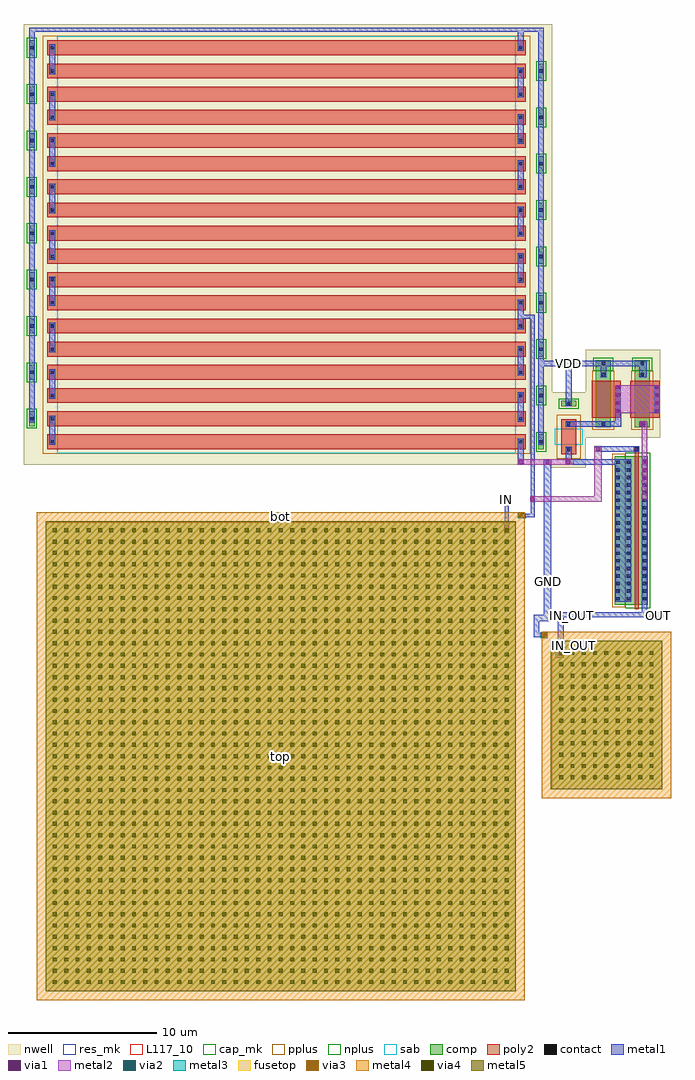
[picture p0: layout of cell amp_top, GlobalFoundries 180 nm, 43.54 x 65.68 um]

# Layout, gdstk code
from math import pi, radians
import gdstk
lib = gdstk.Library(unit=1e-6, precision=5e-09)
def R(c, l, rs):  # rectangles x0, y0, x1, y1
    for r in rs: c.add(gdstk.rectangle(r[:2], r[2:], *l))
def A(c, l, x, y, w, h, nx, ny, dx, dy):  # array of equal rectangles
    R(c, l, [(x+i*dx, y+j*dy, x+i*dx+w, y+j*dy+h) for i in range(nx) for j in range(ny)])
def P(c, l, *ps):  # polygons
    for p in ps: c.add(gdstk.Polygon(p, *l))
nwell = (21, 0)
comp = (22, 0)
poly2 = (30, 0)
pplus = (31, 0)
nplus = (32, 0)
contact = (33, 0)
metal1 = (34, 0)
via1 = (35, 0)
metal2 = (36, 0)
via2 = (38, 0)
via3 = (40, 0)
via4 = (41, 0)
metal3 = (42, 0)
metal4 = (46, 0)
sab = (49, 0)
fusetop = (75, 0)
metal5 = (81, 0)
res_mk = (110, 5)
cap_mk = (117, 5)
L117_10 = (117, 10)

cap_output = lib.new_cell('cap_output')
R(cap_output, metal1, [(8.065,9.895,8.48,12.775), (8.065,9.895,8.48,12.775), (9.16,11.115,10.105,11.425), (9.16,11.115,10.105,11.425)])
R(cap_output, via1, [(8.12,9.94,8.38,10.2), (9.22,11.135,9.48,11.395), (9.22,11.135,9.48,11.395)])
R(cap_output, metal2, [(8.065,9.755,8.6,10.36), (9.16,11.08,9.625,11.455), (9.16,11.08,9.625,11.455)])
R(cap_output, via2, [(9.22,11.135,9.48,11.395), (9.22,11.135,9.48,11.395)])
R(cap_output, via3, [(9.22,11.135,9.48,11.395), (9.22,11.135,9.48,11.395)])
R(cap_output, via4, [(2.04,1.58,2.3,1.84), (2.04,1.58,2.3,1.84), (2.8,1.58,3.06,1.84), (2.8,1.58,3.06,1.84), (3.56,1.58,3.82,1.84), (3.56,1.58,3.82,1.84), (4.32,1.58,4.58,1.84), (4.32,1.58,4.58,1.84), (5.08,1.58,5.34,1.84), (5.08,1.58,5.34,1.84), (5.84,1.58,6.1,1.84), (5.84,1.58,6.1,1.84), (6.6,1.58,6.86,1.84), (6.6,1.58,6.86,1.84), (7.36,1.58,7.62,1.84), (7.36,1.58,7.62,1.84), (8.12,1.58,8.38,1.84), (8.12,1.58,8.38,1.84), (2.04,2.34,2.3,2.6), (2.04,2.34,2.3,2.6), (2.8,2.34,3.06,2.6), (2.8,2.34,3.06,2.6), (3.56,2.34,3.82,2.6), (3.56,2.34,3.82,2.6), (4.32,2.34,4.58,2.6), (4.32,2.34,4.58,2.6), (5.08,2.34,5.34,2.6), (5.08,2.34,5.34,2.6), (5.84,2.34,6.1,2.6), (5.84,2.34,6.1,2.6), (6.6,2.34,6.86,2.6), (6.6,2.34,6.86,2.6), (7.36,2.34,7.62,2.6), (7.36,2.34,7.62,2.6), (8.12,2.34,8.38,2.6), (8.12,2.34,8.38,2.6), (2.04,3.1,2.3,3.36), (2.04,3.1,2.3,3.36), (2.8,3.1,3.06,3.36), (2.8,3.1,3.06,3.36), (3.56,3.1,3.82,3.36), (3.56,3.1,3.82,3.36), (4.32,3.1,4.58,3.36), (4.32,3.1,4.58,3.36), (5.08,3.1,5.34,3.36), (5.08,3.1,5.34,3.36), (5.84,3.1,6.1,3.36), (5.84,3.1,6.1,3.36), (6.6,3.1,6.86,3.36), (6.6,3.1,6.86,3.36), (7.36,3.1,7.62,3.36), (7.36,3.1,7.62,3.36), (8.12,3.1,8.38,3.36), (8.12,3.1,8.38,3.36), (2.04,3.86,2.3,4.12), (2.04,3.86,2.3,4.12), (2.8,3.86,3.06,4.12), (2.8,3.86,3.06,4.12), (3.56,3.86,3.82,4.12), (3.56,3.86,3.82,4.12), (4.32,3.86,4.58,4.12), (4.32,3.86,4.58,4.12), (5.08,3.86,5.34,4.12), (5.08,3.86,5.34,4.12), (5.84,3.86,6.1,4.12), (5.84,3.86,6.1,4.12), (6.6,3.86,6.86,4.12), (6.6,3.86,6.86,4.12), (7.36,3.86,7.62,4.12), (7.36,3.86,7.62,4.12), (8.12,3.86,8.38,4.12), (8.12,3.86,8.38,4.12), (2.04,4.62,2.3,4.88), (2.04,4.62,2.3,4.88), (2.8,4.62,3.06,4.88), (2.8,4.62,3.06,4.88), (3.56,4.62,3.82,4.88), (3.56,4.62,3.82,4.88), (4.32,4.62,4.58,4.88), (4.32,4.62,4.58,4.88), (5.08,4.62,5.34,4.88), (5.08,4.62,5.34,4.88), (5.84,4.62,6.1,4.88), (5.84,4.62,6.1,4.88), (6.6,4.62,6.86,4.88), (6.6,4.62,6.86,4.88), (7.36,4.62,7.62,4.88), (7.36,4.62,7.62,4.88), (8.12,4.62,8.38,4.88), (8.12,4.62,8.38,4.88), (2.04,5.38,2.3,5.64), (2.04,5.38,2.3,5.64), (2.8,5.38,3.06,5.64), (2.8,5.38,3.06,5.64), (3.56,5.38,3.82,5.64), (3.56,5.38,3.82,5.64), (4.32,5.38,4.58,5.64), (4.32,5.38,4.58,5.64), (5.08,5.38,5.34,5.64), (5.08,5.38,5.34,5.64), (5.84,5.38,6.1,5.64), (5.84,5.38,6.1,5.64), (6.6,5.38,6.86,5.64), (6.6,5.38,6.86,5.64), (7.36,5.38,7.62,5.64), (7.36,5.38,7.62,5.64), (8.12,5.38,8.38,5.64), (8.12,5.38,8.38,5.64), (2.04,6.14,2.3,6.4), (2.04,6.14,2.3,6.4), (2.8,6.14,3.06,6.4), (2.8,6.14,3.06,6.4), (3.56,6.14,3.82,6.4), (3.56,6.14,3.82,6.4), (4.32,6.14,4.58,6.4), (4.32,6.14,4.58,6.4), (5.08,6.14,5.34,6.4), (5.08,6.14,5.34,6.4), (5.84,6.14,6.1,6.4), (5.84,6.14,6.1,6.4), (6.6,6.14,6.86,6.4), (6.6,6.14,6.86,6.4), (7.36,6.14,7.62,6.4), (7.36,6.14,7.62,6.4), (8.12,6.14,8.38,6.4), (8.12,6.14,8.38,6.4), (2.04,6.9,2.3,7.16), (2.04,6.9,2.3,7.16), (2.8,6.9,3.06,7.16), (2.8,6.9,3.06,7.16), (3.56,6.9,3.82,7.16), (3.56,6.9,3.82,7.16), (4.32,6.9,4.58,7.16), (4.32,6.9,4.58,7.16), (5.08,6.9,5.34,7.16), (5.08,6.9,5.34,7.16), (5.84,6.9,6.1,7.16), (5.84,6.9,6.1,7.16), (6.6,6.9,6.86,7.16), (6.6,6.9,6.86,7.16), (7.36,6.9,7.62,7.16), (7.36,6.9,7.62,7.16), (8.12,6.9,8.38,7.16), (8.12,6.9,8.38,7.16), (2.04,7.66,2.3,7.92), (2.04,7.66,2.3,7.92), (2.8,7.66,3.06,7.92), (2.8,7.66,3.06,7.92), (3.56,7.66,3.82,7.92), (3.56,7.66,3.82,7.92), (4.32,7.66,4.58,7.92), (4.32,7.66,4.58,7.92), (5.08,7.66,5.34,7.92), (5.08,7.66,5.34,7.92), (5.84,7.66,6.1,7.92), (5.84,7.66,6.1,7.92), (6.6,7.66,6.86,7.92), (6.6,7.66,6.86,7.92), (7.36,7.66,7.62,7.92), (7.36,7.66,7.62,7.92), (8.12,7.66,8.38,7.92), (8.12,7.66,8.38,7.92), (2.04,8.42,2.3,8.68), (2.04,8.42,2.3,8.68), (2.8,8.42,3.06,8.68), (2.8,8.42,3.06,8.68), (3.56,8.42,3.82,8.68), (3.56,8.42,3.82,8.68), (4.32,8.42,4.58,8.68), (4.32,8.42,4.58,8.68), (5.08,8.42,5.34,8.68), (5.08,8.42,5.34,8.68), (5.84,8.42,6.1,8.68), (5.84,8.42,6.1,8.68), (6.6,8.42,6.86,8.68), (6.6,8.42,6.86,8.68), (7.36,8.42,7.62,8.68), (7.36,8.42,7.62,8.68), (8.12,8.42,8.38,8.68), (8.12,8.42,8.38,8.68), (2.04,9.18,2.3,9.44), (2.04,9.18,2.3,9.44), (2.8,9.18,3.06,9.44), (2.8,9.18,3.06,9.44), (3.56,9.18,3.82,9.44), (3.56,9.18,3.82,9.44), (4.32,9.18,4.58,9.44), (4.32,9.18,4.58,9.44), (5.08,9.18,5.34,9.44), (5.08,9.18,5.34,9.44), (5.84,9.18,6.1,9.44), (5.84,9.18,6.1,9.44), (6.6,9.18,6.86,9.44), (6.6,9.18,6.86,9.44), (7.36,9.18,7.62,9.44), (7.36,9.18,7.62,9.44), (8.12,9.18,8.38,9.44), (8.12,9.18,8.38,9.44), (2.04,9.94,2.3,10.2), (2.04,9.94,2.3,10.2), (2.8,9.94,3.06,10.2), (2.8,9.94,3.06,10.2), (3.56,9.94,3.82,10.2), (3.56,9.94,3.82,10.2), (4.32,9.94,4.58,10.2), (4.32,9.94,4.58,10.2), (5.08,9.94,5.34,10.2), (5.08,9.94,5.34,10.2), (5.84,9.94,6.1,10.2), (5.84,9.94,6.1,10.2), (6.6,9.94,6.86,10.2), (6.6,9.94,6.86,10.2), (7.36,9.94,7.62,10.2), (7.36,9.94,7.62,10.2), (8.12,9.94,8.38,10.2), (8.12,9.94,8.38,10.2)])
R(cap_output, metal3, [(9.16,11.08,9.625,11.455), (9.16,11.08,9.625,11.455)])
R(cap_output, metal4, [(0.86,0.29,9.56,11.49), (0.86,0.29,9.56,11.49)])
R(cap_output, fusetop, [(1.46,0.89,8.96,10.89), (1.46,0.89,8.96,10.89)])
R(cap_output, metal5, [(1.46,0.89,8.96,10.89), (1.46,0.89,8.96,10.89)])
R(cap_output, cap_mk, [(0.86,0.29,9.56,11.49), (0.86,0.29,9.56,11.49)])
R(cap_output, L117_10, [(8.86,0.89,8.96,10.89), (8.86,0.89,8.96,10.89)])
cap_output.add(gdstk.Label('IN_OUT', (8.26,12.705), layer=34, texttype=10))
cap_output.add(gdstk.Label('GND', (10.055,11.25), layer=34, texttype=10))
cap_output.add(gdstk.Label('GND', (10.055,11.25), layer=34, texttype=10))

amp_top = lib.new_cell('amp_top')
R(amp_top, nwell, [(39.69,38.19,39.93,44.1), (39.93,38.19,42.31,44.1)])
P(amp_top, nwell, [(34.92,36.155),(34.92,36.365),(-0.49,36.365),(-0.49,66.03),(35.075,66.03),(35.075,41.25),(37.31,41.25),(37.31,44.1),(39.69,44.1),(39.69,38.19),(37.31,38.19),(37.31,36.155)])
A(amp_top, comp, 34.13, 37.41, 0.36, 1, 1, 9, 0, 3.12)
A(amp_top, comp, -0.14, 38.97, 0.36, 1, 1, 9, 0, 3.12)
R(amp_top, comp, [(39.275,26.945,39.985,36.945), (39.985,26.945,40.405,36.945), (40.405,26.945,41.065,36.945), (41.065,26.945,41.485,36.945), (38,38.88,39,39.34), (40.62,38.88,41.62,39.34), (38,39.34,39,42.22), (40.62,39.34,41.62,42.22), (35.67,40.3,36.67,40.66), (38,42.22,39,42.68), (40.62,42.22,41.62,42.68), (38,42.68,39,43.41), (40.62,42.68,41.62,43.41)])
A(amp_top, poly2, 1.08, 37.41, 32.19, 1, 1, 18, 0, 1.56)
R(amp_top, poly2, [(40.595,26.645,40.875,37.245), (35.67,37.07,36.67,39.44), (40.555,37.245,40.915,37.605), (37.7,39.53,39.3,42.03), (39.3,39.53,39.68,42.03), (40.32,39.53,41.92,42.03), (41.92,39.53,42.3,42.03)])
A(amp_top, pplus, 0.78, 37.11, 32.79, 1.6, 1, 18, 0, 1.56)
R(amp_top, pplus, [(39.105,26.775,39.985,37.115), (35.37,36.77,36.97,39.74), (37.76,38.71,39.24,42.68), (40.38,38.71,41.86,42.68)])
A(amp_top, nplus, 33.97, 37.25, 0.68, 1.32, 1, 9, 0, 3.12)
A(amp_top, nplus, -0.3, 38.81, 0.68, 1.32, 1, 9, 0, 3.12)
R(amp_top, nplus, [(39.985,26.705,41.655,37.185), (35.51,40.14,36.83,40.82), (37.83,42.68,39.17,43.58), (40.45,42.68,41.79,43.58)])
A(amp_top, contact, 39.375, 27.245, 0.22, 0.22, 1, 19, 0, 0.51)
A(amp_top, contact, 40.085, 27.245, 0.22, 0.22, 1, 19, 0, 0.51)
A(amp_top, contact, 41.165, 27.245, 0.22, 0.22, 1, 19, 0, 0.51)
A(amp_top, contact, 1.3, 37.8, 0.22, 0.22, 1, 18, 0, 1.56)
A(amp_top, contact, 32.83, 37.8, 0.22, 0.22, 1, 18, 0, 1.56)
A(amp_top, contact, 34.2, 37.8, 0.22, 0.22, 1, 9, 0, 3.12)
A(amp_top, contact, -0.07, 39.36, 0.22, 0.22, 1, 9, 0, 3.12)
A(amp_top, contact, 39.38, 39.905, 0.22, 0.22, 1, 4, 0, 0.51)
A(amp_top, contact, 42, 39.905, 0.22, 0.22, 1, 4, 0, 0.51)
R(amp_top, contact, [(36.06,37.29,36.28,37.51), (40.625,37.315,40.845,37.535), (36.06,39,36.28,39.22), (38.39,39,38.61,39.22), (41.01,39,41.23,39.22), (36.06,40.37,36.28,40.59), (38.39,42.34,38.61,42.56), (41.01,42.34,41.23,42.56), (38.39,43.07,38.61,43.29), (41.01,43.07,41.23,43.29)])
A(amp_top, metal1, 1.22, 37.72, 0.38, 0.38, 1, 18, 0, 1.56)
A(amp_top, metal1, 32.75, 37.72, 0.38, 0.38, 1, 18, 0, 1.56)
A(amp_top, metal1, 34.12, 37.72, 0.38, 0.38, 1, 9, 0, 3.12)
A(amp_top, metal1, -0.15, 39.28, 0.38, 0.38, 1, 9, 0, 3.12)
A(amp_top, metal1, 1.22, 41.22, 0.38, 1.18, 1, 7, 0, 3.12)
A(amp_top, metal1, 32.75, 52.14, 0.38, 1.18, 1, 3, 0, 3.12)
R(amp_top, metal1, [(39.295,27.165,39.675,36.725), (40.005,27.165,40.385,36.725), (31.86,31.77,32.12,31.83), (31.86,31.83,32.12,32.09), (32.75,32.82,32.81,33.08), (32.81,32.82,32.84,33.08), (32.75,36.365,33.13,37.72), (34.12,37.705,34.5,37.72), (1.22,37.71,1.6,37.72), (1.22,38.05,1.6,39.305), (34.12,38.075,34.24,53.32), (32.75,38.1,33.13,38.12), (35.98,38.92,38.31,39.3), (38.31,38.92,38.69,39.3), (40.93,38.92,41.31,39.3), (38.69,38.925,39.69,39.3), (-0.15,39.245,0.23,39.28), (32.75,39.255,33.13,39.28), (-0.15,39.28,0.23,63.395), (39.3,39.3,39.69,39.825), (32.75,39.565,33.13,40.865), (1.22,39.66,1.6,39.67), (39.3,39.825,39.68,41.735), (41.92,39.825,42.3,41.735), (1.22,40.825,1.6,40.84), (32.75,41.22,33.13,41.235), (38.31,42.26,38.69,42.64), (40.93,42.26,41.31,42.64), (41.31,42.26,41.405,43.37), (32.75,42.385,33.13,42.4), (38.31,42.635,38.69,42.99), (40.93,42.64,41.31,42.99), (32.75,42.725,33.13,43.96), (1.22,42.78,1.6,42.795), (38.31,42.99,38.69,43.37), (38.69,42.99,40.93,43.37), (40.93,42.99,41.31,43.37), (1.22,43.945,1.6,43.96), (32.75,44.34,33.13,44.355), (32.75,45.5,33.13,45.52), (32.75,45.82,33.13,47.12), (1.22,45.9,1.6,45.915), (1.22,47.065,1.6,47.08), (32.75,47.46,33.13,47.48), (32.75,48.62,33.13,48.64), (32.75,48.915,33.13,50.2), (1.22,49.02,1.6,49.03), (1.22,50.18,1.6,50.2), (32.75,50.58,33.13,50.595), (32.75,51.74,33.13,51.76), (1.22,52.14,1.6,52.16), (1.22,53.305,1.6,53.32), (32.75,53.7,33.13,53.72), (34.12,53.7,34.24,56.44), (32.75,54.865,33.13,54.88), (1.22,55.26,1.6,55.275), (1.22,56.425,1.6,56.44), (32.75,56.82,33.13,56.845), (34.12,56.82,34.24,59.56), (32.75,57.98,33.13,58), (33.02,58.18,33.07,58.44), (1.22,58.38,1.6,58.4), (1.22,59.545,1.6,59.56), (32.75,59.94,33.13,59.965), (34.12,59.94,34.5,62.63), (32.75,61.11,33.13,61.12), (32.75,61.12,33.13,63.06), (1.22,61.5,1.6,61.515), (34.12,62.63,34.5,65.785), (1.22,62.645,1.6,62.68), (1.22,62.68,1.6,64.655), (32.75,63.06,33.13,63.075), (-0.15,63.395,0.23,65.785), (32.75,64.22,33.13,64.24), (32.75,64.24,33.13,65.655)])
P(amp_top, metal1, [(35.43,26.115),(35.43,26.445),(41.085,26.445),(41.085,36.725),(41.465,36.725),(41.465,26.445),(42.905,26.445),(42.905,26.115)],
  [(33.805,25.055),(33.805,26.28),(34.49,26.28),(34.49,36.725),(34.975,36.725),(34.975,25.835),(34.175,25.835),(34.175,25.055)],
  [(31.86,32.09),(31.86,34.26),(32.12,34.26),(32.12,33.875),(32.12,32.09)],
  [(32.84,32.82),(32.84,33.08),(33.62,33.08),(33.62,33.875),(33.575,33.875),(33.575,34.26),(33.62,34.26),(33.62,34.35),(33.88,34.35),(33.88,32.82)],
  [(34.24,37.725),(34.24,59.945),(34.5,59.945),(34.5,43.37),(38.31,43.37),(38.31,42.99),(36.36,42.99),(36.36,40.29),(35.98,40.29),(35.98,42.99),(34.5,42.99),(34.5,37.725)],
  [(37.895,37.235),(37.895,37.615),(40.925,37.615),(40.925,37.235),(40.545,37.235)],
  [(39.675,27.165),(39.675,36.365),(35.98,36.365),(35.98,37.59),(36.36,37.59),(36.36,36.725),(40.005,36.725),(40.005,27.165)],
  [(34.12,59.56),(34.12,59.56),(34.24,59.56),(34.24,59.56)],
  [(34.12,59.56),(34.12,59.56),(34.24,59.56),(34.24,59.56)],
  [(32.75,51.76),(32.75,51.76),(33.13,51.76),(33.13,51.76)],
  [(32.75,64.24),(32.75,64.24),(33.13,64.24),(33.13,64.24)],
  [(7.845,63.03),(7.845,63.03),(7.845,63.03),(7.845,63.03)])
A(amp_top, via1, 39.36, 40.395, 0.26, 0.26, 1, 3, 0, 0.52)
A(amp_top, via1, 41.98, 40.395, 0.26, 0.26, 1, 3, 0, 0.52)
R(amp_top, via1, [(31.86,31.83,32.12,32.09), (32.81,32.82,33.07,33.08), (33.595,33.925,33.855,34.185), (41.165,35.365,41.425,35.625), (41.165,35.87,41.42,36.135), (41.145,36.405,41.405,36.665), (32.81,36.415,33.07,36.675), (34.61,36.425,34.87,36.685), (36.005,36.425,36.265,36.685), (38.015,37.3,38.275,37.56), (40.99,38.98,41.25,39.24), (41.01,39,41.23,39.22), (39.36,39.865,39.62,40.125), (41.98,39.865,42.24,40.125), (41.98,41.435,42.24,41.695)])
P(amp_top, via1, [(32.895,33.06),(32.895,33.06),(32.895,33.06),(32.895,33.06)])
R(amp_top, metal2, [(31.82,31.77,32.16,32.305), (32.75,32.78,33.285,32.82), (32.75,32.82,33.285,33.08), (32.75,33.08,33.285,33.12), (41.085,34.06,41.465,39.3), (32.75,36.365,36.52,36.725), (40.93,38.92,41.385,39.3), (39.3,39.825,42.3,41.735)])
P(amp_top, metal2, [(33.575,33.875),(33.575,34.26),(37.895,34.26),(37.895,37.585),(38.405,37.585),(38.405,33.875)])
R(amp_top, via2, [(32.81,32.82,33.07,33.08)])
R(amp_top, via3, [(32.81,32.82,33.07,33.08)])
A(amp_top, via4, 1.46, 1.43, 0.26, 0.26, 41, 41, 0.76, 0.76)
R(amp_top, metal3, [(32.75,32.78,33.285,33.12)])
R(amp_top, metal4, [(0.38,0.35,33.2,33.17)])
A(amp_top, sab, 1.74, 37.13, 30.87, 1.56, 1, 18, 0, 1.56)
R(amp_top, sab, [(35.215,37.73,37.125,38.78)])
R(amp_top, fusetop, [(0.98,0.95,32.6,32.57)])
R(amp_top, metal5, [(0.98,0.95,32.6,32.57)])
A(amp_top, res_mk, 1.74, 37.41, 30.87, 1, 1, 18, 0, 1.56)
R(amp_top, res_mk, [(35.67,37.73,36.67,38.78)])
R(amp_top, cap_mk, [(0.38,0.35,33.2,33.17)])
R(amp_top, L117_10, [(0.98,32.47,32.6,32.57)])
amp_top.add(gdstk.FlexPath([(32.94,37.72),(32.94,36.365)], 0.26, ends="flush", simple_path=True, layer=34, datatype=0))  # metal1
amp_top.add(gdstk.FlexPath([(34.37,64.465),(34.37,65.655),(0.1,65.655),(0.1,65.625),(0.1,65.625)], 0.26, ends="flush", simple_path=True, layer=34, datatype=0))  # metal1
amp_top.add(gdstk.FlexPath([(1.41,39.355),(1.41,37.905)], 0.26, ends="flush", simple_path=True, layer=34, datatype=0))  # metal1
amp_top.add(gdstk.FlexPath([(1.41,42.4),(1.41,41.14)], 0.26, ends="flush", simple_path=True, layer=34, datatype=0))  # metal1
amp_top.add(gdstk.FlexPath([(1.41,45.52),(1.41,44.15)], 0.26, ends="flush", simple_path=True, layer=34, datatype=0))  # metal1
amp_top.add(gdstk.FlexPath([(1.41,48.64),(1.41,47.27)], 0.26, ends="flush", simple_path=True, layer=34, datatype=0))  # metal1
amp_top.add(gdstk.FlexPath([(1.41,51.76),(1.41,50.5)], 0.26, ends="flush", simple_path=True, layer=34, datatype=0))  # metal1
amp_top.add(gdstk.FlexPath([(1.41,54.88),(1.41,53.62)], 0.26, ends="flush", simple_path=True, layer=34, datatype=0))  # metal1
amp_top.add(gdstk.FlexPath([(1.41,58),(1.41,56.63),(1.41,56.63)], 0.26, ends="flush", simple_path=True, layer=34, datatype=0))  # metal1
amp_top.add(gdstk.FlexPath([(1.41,61.12),(1.41,59.86),(1.41,59.86)], 0.26, ends="flush", simple_path=True, layer=34, datatype=0))  # metal1
amp_top.add(gdstk.FlexPath([(32.94,59.57),(32.94,58.31),(33.05,58.31)], 0.26, ends="flush", simple_path=True, layer=34, datatype=0))  # metal1
amp_top.add(gdstk.FlexPath([(32.94,56.44),(32.94,55.07),(32.94,55.07)], 0.26, ends="flush", simple_path=True, layer=34, datatype=0))  # metal1
amp_top.add(gdstk.FlexPath([(32.94,53.32),(32.94,51.95)], 0.26, ends="flush", simple_path=True, layer=34, datatype=0))  # metal1
amp_top.add(gdstk.FlexPath([(32.94,50.2),(32.94,48.72)], 0.26, ends="flush", simple_path=True, layer=34, datatype=0))  # metal1
amp_top.add(gdstk.FlexPath([(32.94,47.16),(32.94,45.71)], 0.26, ends="flush", simple_path=True, layer=34, datatype=0))  # metal1
amp_top.add(gdstk.FlexPath([(33.04,46.33),(33.75,46.33),(33.75,34.35),(33.75,34.35)], 0.26, ends="flush", simple_path=True, layer=34, datatype=0))  # metal1
amp_top.add(gdstk.FlexPath([(32.94,43.96),(32.94,42.59)], 0.26, ends="flush", simple_path=True, layer=34, datatype=0))  # metal1
amp_top.add(gdstk.FlexPath([(32.94,40.92),(32.94,39.47)], 0.26, ends="flush", simple_path=True, layer=34, datatype=0))  # metal1
amp_top.add(gdstk.Reference(cap_output, (43.91,13.63), rotation=pi, x_reflection=True))
amp_top.add(gdstk.Label('GND', (34.79,28.52), layer=34, texttype=10))
amp_top.add(gdstk.Label('IN_OUT', (36.385,26.255), layer=34, texttype=10))
amp_top.add(gdstk.Label('OUT', (42.215,26.215), layer=34, texttype=10))
amp_top.add(gdstk.Label('VDD', (36.18,43.15), layer=34, texttype=10))
amp_top.add(gdstk.Label('IN', (31.955,34.055), layer=34, texttype=10))
amp_top.add(gdstk.Label('IN_OUT', (36.475,24.195), layer=81, texttype=0))
amp_top.add(gdstk.Label('top', (16.79,16.76), layer=81, texttype=10))
amp_top.add(gdstk.Label('bot', (16.79,32.87), layer=46, texttype=10))

lib.write_gds('amp_top.gds')
